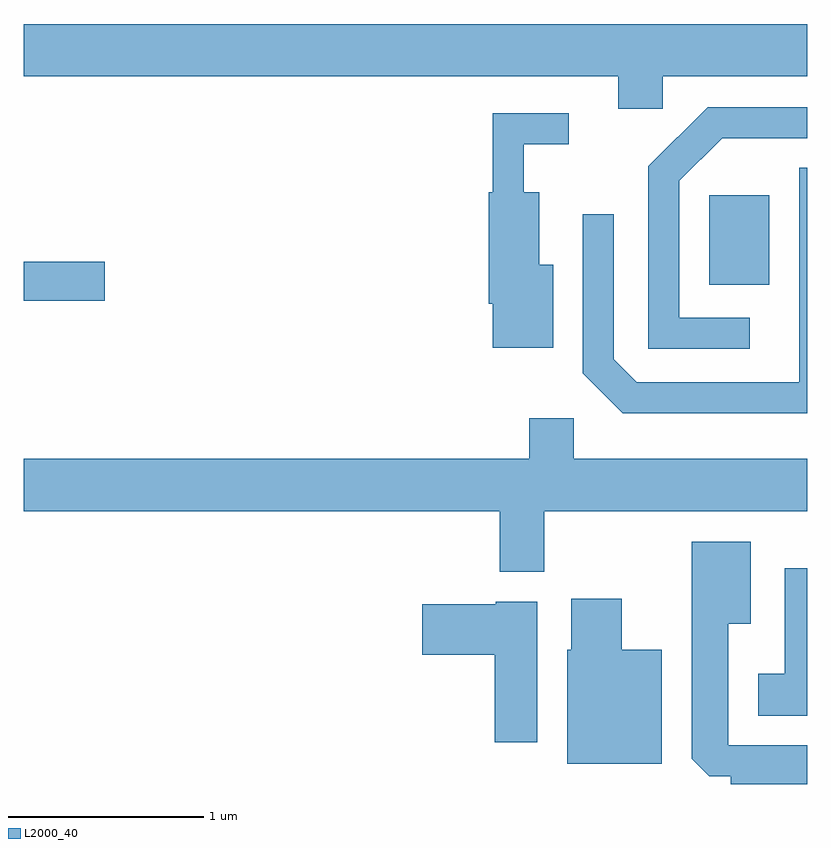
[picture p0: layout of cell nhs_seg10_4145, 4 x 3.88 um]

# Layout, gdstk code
import gdstk
lib = gdstk.Library(unit=1e-6, precision=1e-09)
def R(c, l, rs):  # rectangles x0, y0, x1, y1
    for r in rs: c.add(gdstk.rectangle(r[:2], r[2:], *l))
def P(c, l, *ps):  # polygons
    for p in ps: c.add(gdstk.Polygon(p, *l))
L2000_40 = (2000, 40)

nhs_seg10_4145 = lib.new_cell('nhs_seg10_4145')
R(nhs_seg10_4145, L2000_40, [(307.611,2114.991,308.024,2115.189), (311.111,2115.071,311.419,2115.529)])
P(nhs_seg10_4145, L2000_40, [(307.611,2116.136),(310.646,2116.136),(310.646,2115.971),(310.874,2115.971),(310.874,2116.136),(311.611,2116.136),(311.611,2116.404),(307.611,2116.404)],
  [(311.318,2114.904),(310.959,2114.904),(310.959,2115.604),(311.177,2115.821),(311.611,2115.821),(311.611,2115.979),(311.104,2115.979),(310.801,2115.677),(310.801,2114.746),(311.318,2114.746)],
  [(310.314,2115.174),(310.244,2115.174),(310.244,2115.544),(310.164,2115.544),(310.164,2115.791),(310.393,2115.791),(310.393,2115.949),(310.006,2115.949),(310.006,2115.544),(309.986,2115.544),(309.986,2114.976),(310.006,2114.976),(310.006,2114.751),(310.314,2114.751)],
  [(311.611,2115.669),(311.571,2115.669),(311.571,2114.574),(310.742,2114.574),(310.624,2114.692),(310.624,2115.433),(310.466,2115.433),(310.466,2114.619),(310.669,2114.416),(311.611,2114.416)],
  [(310.269,2113.916),(311.611,2113.916),(311.611,2114.184),(310.419,2114.184),(310.419,2114.389),(310.191,2114.389),(310.191,2114.184),(307.611,2114.184),(307.611,2113.916),(310.041,2113.916),(310.041,2113.606),(310.269,2113.606)],
  [(311.611,2112.719),(311.209,2112.719),(311.209,2113.341),(311.324,2113.341),(311.324,2113.759),(311.021,2113.759),(311.021,2112.652),(311.112,2112.561),(311.221,2112.561),(311.221,2112.522),(311.611,2112.522)],
  [(311.611,2113.624),(311.496,2113.624),(311.496,2113.084),(311.361,2113.084),(311.361,2112.871),(311.611,2112.871)],
  [(310.869,2113.209),(310.664,2113.209),(310.664,2113.469),(310.406,2113.469),(310.406,2113.209),(310.386,2113.209),(310.386,2112.626),(310.869,2112.626)],
  [(310.234,2113.454),(310.02,2113.454),(310.02,2113.439),(309.646,2113.439),(309.646,2113.181),(310.016,2113.181),(310.016,2112.736),(310.234,2112.736)])

lib.write_gds('nhs_seg10_4145.gds')
